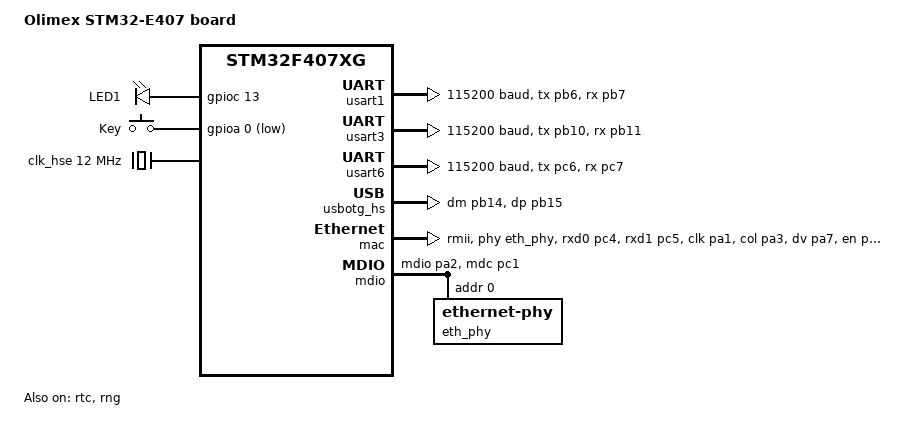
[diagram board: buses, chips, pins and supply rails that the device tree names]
/*
 * Copyright (c) 2017, Erwin Rol <erwin@erwinrol.com>
 *
 * SPDX-License-Identifier: Apache-2.0
 */

/dts-v1/;
#include <st/f4/stm32f407Xg.dtsi>
#include <st/f4/stm32f407z(e-g)tx-pinctrl.dtsi>
#include <zephyr/dt-bindings/input/input-event-codes.h>

/ {
	model = "Olimex STM32-E407 board";
	compatible = "olimex,stm32-e407";

	chosen {
		zephyr,console = &usart1;
		zephyr,shell-uart = &usart1;
		zephyr,sram = &sram0;
		zephyr,flash = &flash0;
		zephyr,ccm = &ccm0;
	};

	leds {
		compatible = "gpio-leds";

		green_led_1: led_1 {
			gpios = <&gpioc 13 GPIO_ACTIVE_HIGH>;
			label = "LED1";
		};
	};

	gpio_keys {
		compatible = "gpio-keys";

		user_button: button {
			label = "Key";
			gpios = <&gpioa 0 GPIO_ACTIVE_LOW>;
			zephyr,code = <INPUT_KEY_0>;
		};
	};

	aliases {
		led0 = &green_led_1;
		sw0 = &user_button;
	};
};

&clk_lsi {
	status = "okay";
};

&clk_hse {
	clock-frequency = <DT_FREQ_M(12)>;
	status = "okay";
};

&pll {
	div-m = <12>;
	mul-n = <336>;
	div-p = <2>;
	div-q = <7>;
	clocks = <&clk_hse>;
	status = "okay";
};

&rcc {
	clocks = <&pll>;
	clock-frequency = <DT_FREQ_M(168)>;
	ahb-prescaler = <1>;
	apb1-prescaler = <4>;
	apb2-prescaler = <2>;
};

&usart1 {
	pinctrl-0 = <&usart1_tx_pb6 &usart1_rx_pb7>;
	pinctrl-names = "default";
	current-speed = <115200>;
	status = "okay";
};

&usart3 {
	pinctrl-0 = <&usart3_tx_pb10 &usart3_rx_pb11>;
	pinctrl-names = "default";
	current-speed = <115200>;
	status = "okay";
};

&usart6 {
	pinctrl-0 = <&usart6_tx_pc6 &usart6_rx_pc7>;
	pinctrl-names = "default";
	current-speed = <115200>;
	status = "okay";
};

&rtc {
	clocks = <&rcc STM32_CLOCK(APB1, 28)>,
		 <&rcc STM32_SRC_LSI RTC_SEL(2)>;
	status = "okay";
};

&rng {
	status = "okay";
};

/* Only one interface should be enabled at a time: usbotg_fs or usbotg_hs */
usb_otg1: &usbotg_fs {
	pinctrl-0 = <&usb_otg_fs_dm_pa11 &usb_otg_fs_dp_pa12>;
	pinctrl-names = "default";
	status = "disabled";
};

zephyr_udc0: &usbotg_hs {
	pinctrl-0 = <&usb_otg_hs_dm_pb14 &usb_otg_hs_dp_pb15>;
	pinctrl-names = "default";
	status = "okay";
};

&mac {
	status = "okay";
	pinctrl-0 = <&eth_rxd0_pc4
		     &eth_rxd1_pc5
		     &eth_ref_clk_pa1
		     &eth_col_pa3
		     &eth_crs_dv_pa7
		     &eth_tx_en_pg11
		     &eth_txd0_pg13
		     &eth_txd1_pg14>;
	pinctrl-names = "default";
	phy-connection-type = "rmii";
	phy-handle = <&eth_phy>;
};

&mdio {
	status = "okay";
	pinctrl-0 = <&eth_mdio_pa2 &eth_mdc_pc1>;
	pinctrl-names = "default";

	eth_phy: ethernet-phy@0 {
		compatible = "ethernet-phy";
		reg = <0x00>;
	};
};
